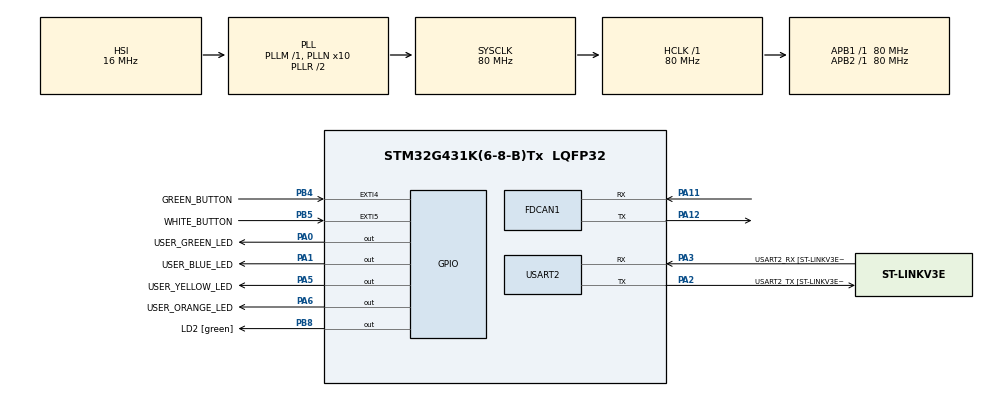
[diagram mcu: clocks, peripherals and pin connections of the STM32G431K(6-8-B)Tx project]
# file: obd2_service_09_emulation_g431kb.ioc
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FDCAN1.CalculateBaudRateNominal=250000
FDCAN1.CalculateTimeBitNominal=4000
FDCAN1.CalculateTimeQuantumNominal=250.0
FDCAN1.DataPrescaler=20
FDCAN1.DataSyncJumpWidth=3
FDCAN1.DataTimeSeg1=12
FDCAN1.DataTimeSeg2=3
FDCAN1.NominalPrescaler=20
FDCAN1.NominalSyncJumpWidth=3
FDCAN1.NominalTimeSeg1=12
FDCAN1.NominalTimeSeg2=3
FDCAN1.StdFiltersNbr=2
Mcu.Family=STM32G4
Mcu.Name=STM32G431K(6-8-B)Tx
Mcu.Package=LQFP32
NVIC.EXTI4_IRQn=true\:0\:0\:false\:false\:true\:true\:true\:true
NVIC.EXTI9_5_IRQn=true\:0\:0\:false\:false\:true\:true\:true\:true
NVIC.FDCAN1_IT0_IRQn=true\:0\:0\:false\:false\:true\:true\:true\:true
NVIC.PriorityGroup=NVIC_PRIORITYGROUP_4
PA0.GPIO_Label=USER_GREEN_LED
PA0.Signal=GPIO_Output
PA1.GPIO_Label=USER_BLUE_LED
PA1.Signal=GPIO_Output
PA11.Mode=FDCAN_Activate
PA11.Signal=FDCAN1_RX
PA12.Mode=FDCAN_Activate
PA12.Signal=FDCAN1_TX
PA13.GPIO_Label=T_SWDIO
PA13.Mode=Serial_Wire
PA13.Signal=SYS_JTMS-SWDIO
PA14.GPIO_Label=T_SWCLK
PA14.Mode=Serial_Wire
PA14.Signal=SYS_JTCK-SWCLK
PA2.GPIO_Label=USART2_TX [ST-LINKV3E_VCP_RX]
PA2.Mode=Asynchronous
PA2.Signal=USART2_TX
PA3.GPIO_Label=USART2_RX [ST-LINKV3E_VCP_TX]
PA3.Mode=Asynchronous
PA3.Signal=USART2_RX
PA5.GPIO_Label=USER_YELLOW_LED
PA5.Signal=GPIO_Output
PA6.GPIO_Label=USER_ORANGE_LED
PA6.Signal=GPIO_Output
PB3.GPIO_Label=T_SWO
PB3.Signal=SYS_JTDO-SWO
PB4.GPIO_Label=GREEN_BUTTON
PB4.GPIO_ModeDefaultEXTI=GPIO_MODE_IT_FALLING
PB4.GPIO_PuPd=GPIO_PULLUP
PB4.Signal=GPXTI4
PB5.GPIO_Label=WHITE_BUTTON
PB5.GPIO_ModeDefaultEXTI=GPIO_MODE_IT_FALLING
PB5.GPIO_PuPd=GPIO_PULLUP
PB5.Signal=GPXTI5
PB8-BOOT0.GPIO_Label=LD2 [green]
PB8-BOOT0.Signal=GPIO_Output
ProjectManager.HeapSize=0x200
ProjectManager.StackSize=0x400
ProjectManager.TargetToolchain=STM32CubeIDE
RCC.ADC12Freq_Value=80000000
RCC.AHBFreq_Value=80000000
RCC.APB1Freq_Value=80000000
RCC.APB1TimFreq_Value=80000000
RCC.APB2Freq_Value=80000000
RCC.APB2TimFreq_Value=80000000
RCC.CortexFreq_Value=80000000
RCC.EXTERNAL_CLOCK_VALUE=12288000
RCC.HCLKFreq_Value=80000000
RCC.HSE_VALUE=8000000
RCC.HSI48_VALUE=48000000
RCC.HSI_VALUE=16000000
RCC.LSE_VALUE=32768
RCC.PLLN=10
RCC.SYSCLKFreq_VALUE=80000000
RCC.SYSCLKSource=RCC_SYSCLKSOURCE_PLLCLK
RCC.USBFreq_Value=80000000
RCC.VCOOutputFreq_Value=160000000
USART2.VirtualMode-Asynchronous=VM_ASYNC
USART2.WordLength=WORDLENGTH_8B
VP_SYS_VS_DBSignals.Mode=DisableDeadBatterySignals
board=NUCLEO-G431KB

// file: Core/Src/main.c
/* USER CODE BEGIN Header */
/**
 ******************************************************************************
 * @file           : main.c
 * @brief          : Main program body
 ******************************************************************************
 * @attention
 *
 * Copyright (c) 2025 STMicroelectronics.
 * All rights reserved.
 *
 * This software is licensed under terms that can be found in the LICENSE file
 * in the root directory of this software component.
 * If no LICENSE file comes with this software, it is provided AS-IS.
 *
 ******************************************************************************
 */
/* USER CODE END Header */
#include "main.h"
#include "fdcan.h"
#include "usart.h"
#include "gpio.h"

/* USER CODE BEGIN Includes */
#include "string.h"
/* USER CODE END Includes */

/* USER CODE BEGIN PV */
FDCAN_RxHeaderTypeDef rxHeader;
uint8_t rxData[8];
uint8_t canDatacheck = 0;

FDCAN_TxHeaderTypeDef txHeader;
uint8_t txData[8];

// looks like my scanners need that to detect presence of a vehicle
uint8_t pids_supported_01_20_service_01[8] =
{ 0x06, 0x41, 0x00, 0x00, 0x00, 0x00, 0x00, 0xAA };

// https://www.csselectronics.com/pages/obd2-pid-table-on-board-diagnostics-j1979
// https://en.wikipedia.org/wiki/OBD-II_PIDs
uint8_t pids_supported_service_09[8] =
{ 0x06, 0x49, 0x00, 0x60, 0x00, 0x00, 0x00, 0xAA }; // VIN support
// https://en.wikipedia.org/wiki/Vehicle_identification_number
char vin[] = "L0V3Y0UKAT3NJUL1A"; // 17 characters

uint32_t frame_separation_time = 0;
/* USER CODE END PV */

void SystemClock_Config(void);
/* USER CODE BEGIN PFP */
void SendCanFrame(void);
/* USER CODE END PFP */

int main(void)
{

  /* MCU Configuration--------------------------------------------------------*/

  /* Reset of all peripherals, Initializes the Flash interface and the Systick. */
  HAL_Init();

  /* Configure the system clock */
  SystemClock_Config();

  /* Initialize all configured peripherals */
  MX_GPIO_Init();
  MX_USART2_UART_Init();
  MX_FDCAN1_Init();
  /* USER CODE BEGIN 2 */
	if (HAL_FDCAN_Start(&hfdcan1) != HAL_OK)
	{
		Error_Handler();
	}

	if (HAL_FDCAN_ActivateNotification(&hfdcan1, FDCAN_IT_RX_FIFO0_NEW_MESSAGE,
			0) != HAL_OK)
	{
		Error_Handler();
	}

	txHeader.IdType = FDCAN_STANDARD_ID;
	txHeader.TxFrameType = FDCAN_DATA_FRAME;
	txHeader.DataLength = FDCAN_DLC_BYTES_8;
	txHeader.ErrorStateIndicator = FDCAN_ESI_ACTIVE;
	txHeader.BitRateSwitch = FDCAN_BRS_OFF;
	txHeader.FDFormat = FDCAN_CLASSIC_CAN;
	txHeader.TxEventFifoControl = FDCAN_NO_TX_EVENTS;
  /* USER CODE END 2 */

  /* Infinite loop */
  /* USER CODE BEGIN WHILE */
	while (1)
	{

		if (canDatacheck == 1)
		{
			canDatacheck = 0;

			if ((rxHeader.Identifier == 0x7DF) && (rxData[0] == 0x02)
					&& (rxData[1] == 0x01) && (rxData[2] == 0x00)) // Welcome PIDs 0x01-0x20 Service 01
			{
				txHeader.Identifier = 0x7E8;
				memcpy(txData, pids_supported_01_20_service_01, 8);
				SendCanFrame();
				HAL_GPIO_TogglePin(USER_BLUE_LED_GPIO_Port, USER_BLUE_LED_Pin);
			}
			else if ((rxHeader.Identifier == 0x7DF) && (rxData[0] == 0x02)
					&& (rxData[1] == 0x09) && (rxData[2] == 0x00)) // Welcome PIDs Service 09
			{
				txHeader.Identifier = 0x7E8;
				memcpy(txData, pids_supported_service_09, 8);
				SendCanFrame();
				HAL_GPIO_TogglePin(USER_BLUE_LED_GPIO_Port, USER_BLUE_LED_Pin);
			}
			else if ((rxHeader.Identifier == 0x7DF) && (rxData[0] == 0x02)
					&& (rxData[1] == 0x09) && (rxData[2] == 0x02)) // VIN
			{
				// Frame 1
				txHeader.Identifier = 0x7E8;
				// https://en.wikipedia.org/wiki/ISO_15765-2
				// https://automotivevehicletesting.com/vehicle-diagnostics/uds-protocol/iso-15765-2-protocol/
				// https://community.carloop.io/t/how-to-request-vin/153/4
				// https://www.csselectronics.com/pages/obd2-explained-simple-intro (Example 1)
				txData[0] = 0x10; // [first nibble/nybble of first byte] PCI (Protocol Control Information): first frame of a multi-frame/extended message
				txData[1] = 0x14; // [second nibble/nybble of first byte and entire second byte] payload size: 20 bytes
				txData[2] = 0x49; // Response (0x40) for service 0x09
				txData[3] = 0x02; // PID for VIN
				txData[4] = 0x01; // NODI (no data indicator)
				txData[5] = vin[0]; // VIN first byte
				txData[6] = vin[1];
				txData[7] = vin[2];
				SendCanFrame();
			}
			else if ((rxHeader.Identifier == 0x7E8 - 0x008)
					&& (rxData[0] == 0x30) && (rxData[1] == 0x00)) // flow control frame
			{
				frame_separation_time = rxData[2]; // ms
				// Frame 2
				txHeader.Identifier = 0x7E8;
				txData[0] = 0x21; // Continuation frame identifier [PCI and seq num]
				txData[1] = vin[3];
				txData[2] = vin[4];
				txData[3] = vin[5];
				txData[4] = vin[6];
				txData[5] = vin[7];
				txData[6] = vin[8];
				txData[7] = vin[9];
				HAL_Delay(frame_separation_time);
				SendCanFrame();
				// Frame 3
				txHeader.Identifier = 0x7E8;
				txData[0] = 0x22; // Continuation frame identifier [PCI and seq num]
				txData[1] = vin[10];
				txData[2] = vin[11];
				txData[3] = vin[12];
				txData[4] = vin[13];
				txData[5] = vin[14];
				txData[6] = vin[15];
				txData[7] = vin[16]; // VIN last byte
				HAL_Delay(frame_separation_time);
				SendCanFrame();
				HAL_GPIO_TogglePin(USER_GREEN_LED_GPIO_Port,
				USER_GREEN_LED_Pin);
			}
			else
			{
				__NOP();
			}
		}
    /* USER CODE END WHILE */

	}
}

void SystemClock_Config(void)
{
  RCC_OscInitTypeDef RCC_OscInitStruct = {0};
  RCC_ClkInitTypeDef RCC_ClkInitStruct = {0};

  /** Configure the main internal regulator output voltage
  */
  HAL_PWREx_ControlVoltageScaling(PWR_REGULATOR_VOLTAGE_SCALE1);

  /** Initializes the RCC Oscillators according to the specified parameters
  * in the RCC_OscInitTypeDef structure.
  */
  RCC_OscInitStruct.OscillatorType = RCC_OSCILLATORTYPE_HSI;
  RCC_OscInitStruct.HSIState = RCC_HSI_ON;
  RCC_OscInitStruct.HSICalibrationValue = RCC_HSICALIBRATION_DEFAULT;
  RCC_OscInitStruct.PLL.PLLState = RCC_PLL_ON;
  RCC_OscInitStruct.PLL.PLLSource = RCC_PLLSOURCE_HSI;
  RCC_OscInitStruct.PLL.PLLM = RCC_PLLM_DIV1;
  RCC_OscInitStruct.PLL.PLLN = 10;
  RCC_OscInitStruct.PLL.PLLP = RCC_PLLP_DIV2;
  RCC_OscInitStruct.PLL.PLLQ = RCC_PLLQ_DIV2;
  RCC_OscInitStruct.PLL.PLLR = RCC_PLLR_DIV2;
  if (HAL_RCC_OscConfig(&RCC_OscInitStruct) != HAL_OK)
  {
    Error_Handler();
  }

  /** Initializes the CPU, AHB and APB buses clocks
  */
  RCC_ClkInitStruct.ClockType = RCC_CLOCKTYPE_HCLK|RCC_CLOCKTYPE_SYSCLK
                              |RCC_CLOCKTYPE_PCLK1|RCC_CLOCKTYPE_PCLK2;
  RCC_ClkInitStruct.SYSCLKSource = RCC_SYSCLKSOURCE_PLLCLK;
  RCC_ClkInitStruct.AHBCLKDivider = RCC_SYSCLK_DIV1;
  RCC_ClkInitStruct.APB1CLKDivider = RCC_HCLK_DIV1;
  RCC_ClkInitStruct.APB2CLKDivider = RCC_HCLK_DIV1;

  if (HAL_RCC_ClockConfig(&RCC_ClkInitStruct, FLASH_LATENCY_2) != HAL_OK)
  {
    Error_Handler();
  }
}

/* USER CODE BEGIN 4 */
void HAL_FDCAN_RxFifo0Callback(FDCAN_HandleTypeDef *hfdcan, uint32_t RxFifo0ITs)
{
	if ((RxFifo0ITs & FDCAN_IT_RX_FIFO0_NEW_MESSAGE) != RESET)
	{
		if (HAL_FDCAN_GetRxMessage(hfdcan, FDCAN_RX_FIFO0, &rxHeader, rxData)
				!= HAL_OK)
		{
			Error_Handler();
		}
		else
		{
			canDatacheck = 1;
		}
	}
}

void SendCanFrame(void)
{
	if (HAL_FDCAN_AddMessageToTxFifoQ(&hfdcan1, &txHeader, txData) != HAL_OK)
	{
		Error_Handler();
	}
}
/* USER CODE END 4 */

void Error_Handler(void)
{
	__disable_irq();
	while (1)
	{
	}
}
